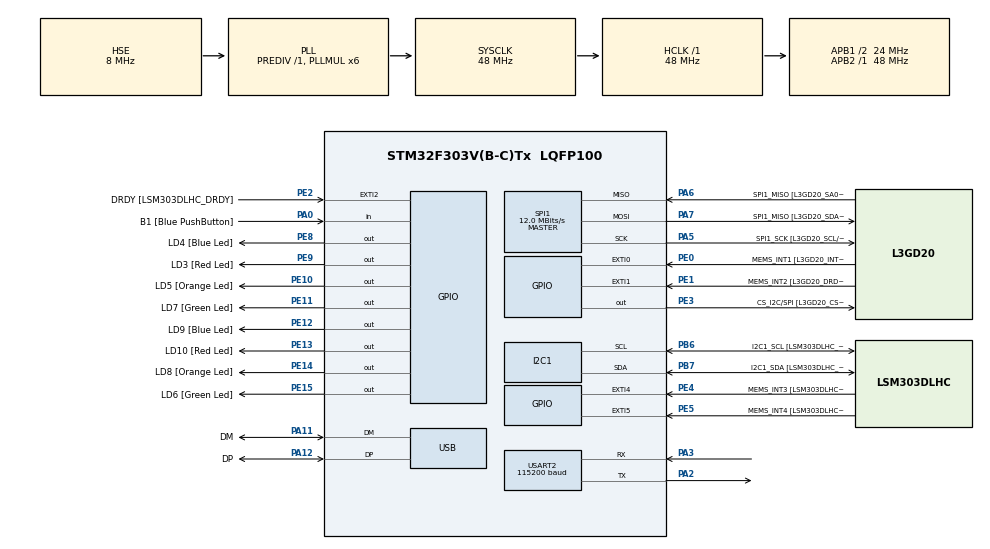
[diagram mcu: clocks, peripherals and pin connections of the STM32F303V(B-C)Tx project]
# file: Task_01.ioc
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I2C1.Timing=0x00201D2B
I2C1.Timing-I2C=0x2000090E
Mcu.Family=STM32F3
Mcu.Name=STM32F303V(B-C)Tx
Mcu.Package=LQFP100
NVIC.I2C1_EV_IRQn=true\:0\:0\:false\:false\:true\:true\:true\:true
NVIC.PriorityGroup=NVIC_PRIORITYGROUP_0
NVIC.TIM6_DAC_IRQn=true\:0\:0\:false\:false\:true\:true\:true\:true
PA0.GPIO_Label=B1 [Blue PushButton]
PA0.Signal=GPIO_Input
PA11.GPIO_Label=DM
PA11.Mode=Device
PA11.Signal=USB_DM
PA12.GPIO_Label=DP
PA12.Mode=Device
PA12.Signal=USB_DP
PA13.GPIO_Label=SWDIO
PA13.Mode=Serial_Wire
PA13.Signal=SYS_JTMS-SWDIO
PA14.GPIO_Label=SWCLK
PA14.Mode=Serial_Wire
PA14.Signal=SYS_JTCK-SWCLK
PA2.Mode=Asynchronous
PA2.Signal=USART2_TX
PA3.Mode=Asynchronous
PA3.Signal=USART2_RX
PA5.GPIO_Label=SPI1_SCK [L3GD20_SCL/SPC]
PA5.Mode=Full_Duplex_Master
PA5.Signal=SPI1_SCK
PA6.GPIO_Label=SPI1_MISO [L3GD20_SA0/SDO]
PA6.Mode=Full_Duplex_Master
PA6.Signal=SPI1_MISO
PA7.GPIO_Label=SPI1_MISO [L3GD20_SDA/SDI/SDO]
PA7.Mode=Full_Duplex_Master
PA7.Signal=SPI1_MOSI
PB3.GPIO_Label=SWO
PB3.Signal=SYS_JTDO-TRACESWO
PB6.GPIO_Label=I2C1_SCL [LSM303DLHC_SCL]
PB6.GPIO_Pu=GPIO_PULLUP
PB6.Mode=I2C
PB6.Signal=I2C1_SCL
PB7.GPIO_Label=I2C1_SDA [LSM303DLHC_SDA]
PB7.GPIO_Pu=GPIO_PULLUP
PB7.Mode=I2C
PB7.Signal=I2C1_SDA
PC14-OSC32_IN.GPIO_Label=OSC32_IN
PC14-OSC32_IN.Signal=RCC_OSC32_IN
PC15-OSC32_OUT.GPIO_Label=OSC32_OUT
PC15-OSC32_OUT.Signal=RCC_OSC32_OUT
PE0.GPIO_Label=MEMS_INT1 [L3GD20_INT1]
PE0.GPIO_ModeDefaultEXTI=GPIO_MODE_EVT_RISING
PE0.Signal=GPXTI0
PE1.GPIO_Label=MEMS_INT2 [L3GD20_DRDY/INT2]
PE1.GPIO_ModeDefaultEXTI=GPIO_MODE_EVT_RISING
PE1.Signal=GPXTI1
PE10.GPIO_Label=LD5 [Orange Led]
PE10.Signal=GPIO_Output
PE11.GPIO_Label=LD7 [Green Led]
PE11.Signal=GPIO_Output
PE12.GPIO_Label=LD9 [Blue Led]
PE12.Signal=GPIO_Output
PE13.GPIO_Label=LD10 [Red Led]
PE13.Signal=GPIO_Output
PE14.GPIO_Label=LD8 [Orange Led]
PE14.Signal=GPIO_Output
PE15.GPIO_Label=LD6 [Green Led]
PE15.Signal=GPIO_Output
PE2.GPIO_Label=DRDY [LSM303DLHC_DRDY]
PE2.GPIO_ModeDefaultEXTI=GPIO_MODE_EVT_RISING
PE2.Signal=GPXTI2
PE3.GPIO_Label=CS_I2C/SPI [L3GD20_CS_I2C/SPI]
PE3.Signal=GPIO_Output
PE4.GPIO_Label=MEMS_INT3 [LSM303DLHC_INT1]
PE4.GPIO_ModeDefaultEXTI=GPIO_MODE_EVT_RISING
PE4.Signal=GPXTI4
PE5.GPIO_Label=MEMS_INT4 [LSM303DLHC_INT2]
PE5.GPIO_ModeDefaultEXTI=GPIO_MODE_EVT_RISING
PE5.Signal=GPXTI5
PE8.GPIO_Label=LD4 [Blue Led]
PE8.Signal=GPIO_Output
PE9.GPIO_Label=LD3 [Red Led]
PE9.Signal=GPIO_Output
PF0-OSC_IN.GPIO_Label=OSC_IN
PF0-OSC_IN.Mode=HSE-External-Clock-Source
PF0-OSC_IN.Signal=RCC_OSC_IN
PF1-OSC_OUT.GPIO_Label=OSC_OUT
PF1-OSC_OUT.Signal=RCC_OSC_OUT
ProjectManager.HeapSize=0x200
ProjectManager.StackSize=0x400
ProjectManager.TargetToolchain=CMake
RCC.AHBFreq_Value=48000000
RCC.APB1CLKDivider=RCC_HCLK_DIV2
RCC.APB1Freq_Value=24000000
RCC.APB1TimFreq_Value=48000000
RCC.APB2Freq_Value=48000000
RCC.APB2TimFreq_Value=48000000
RCC.CortexFreq_Value=48000000
RCC.HCLKFreq_Value=48000000
RCC.HSE_VALUE=8000000
RCC.HSI_VALUE=8000000
RCC.LSE_VALUE=32768
RCC.PLLMUL=RCC_PLL_MUL6
RCC.SYSCLKFreq_VALUE=48000000
RCC.SYSCLKSourceVirtual=RCC_SYSCLKSOURCE_PLLCLK
RCC.USBFreq_Value=48000000
SPI1.BaudRatePrescaler=SPI_BAUDRATEPRESCALER_4
SPI1.BaudRatePrescaler-Full_Duplex_Master=SPI_BAUDRATEPRESCALER_2
SPI1.CalculateBaudRate=12.0 MBits/s
SPI1.CalculateBaudRate-Full_Duplex_Master=24.0 MBits/s
SPI1.DataSize=SPI_DATASIZE_8BIT
SPI1.Direction=SPI_DIRECTION_2LINES
SPI1.Mode=SPI_MODE_MASTER
SPI1.Mode-Full_Duplex_Master=SPI_MODE_MASTER
SPI1.VirtualType=VM_MASTER
TIM6.Period=9
TIM6.Prescaler=47999
USART2.BaudRate=115200
USART2.VirtualMode-Asynchronous=VM_ASYNC
VP_TIM6_VS_ClockSourceINT.Mode=Enable_Timer
board=STM32F3DISCOVERY

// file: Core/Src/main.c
/* USER CODE BEGIN Header */
/**
  ******************************************************************************
  * @file           : main.c
  * @brief          : Main program body
  ******************************************************************************
  * @attention
  *
  * Copyright (c) 2026 STMicroelectronics.
  * All rights reserved.
  *
  * This software is licensed under terms that can be found in the LICENSE file
  * in the root directory of this software component.
  * If no LICENSE file comes with this software, it is provided AS-IS.
  *
  ******************************************************************************
  */
/* USER CODE END Header */
#include "main.h"

/* USER CODE BEGIN Includes */

#include <stdio.h>
#include <string.h>
#include <stdarg.h>
#include <stdint.h>
#include <math.h>

/* USER CODE END Includes */

I2C_HandleTypeDef hi2c1;

SPI_HandleTypeDef hspi1;

TIM_HandleTypeDef htim6;

UART_HandleTypeDef huart2;

PCD_HandleTypeDef hpcd_USB_FS;

/* USER CODE BEGIN PV */
/* Accelerometer Defines */
#define ACC_ADDR            (0x19 << 1)
#define CTRL_REG1_A         0x20
#define CTRL_REG4_A         0x23
#define OUT_X_L_A           0x28

/* Gyroscope Defines */
#define GYRO_CS_PORT        GPIOE
#define GYRO_CS_PIN         GPIO_PIN_3
#define GYRO_WHO_AM_I_REG   0x0F
#define GYRO_READ_BIT       0x80
#define GYRO_MULTI_BIT      0x40
#define CTRL_REG1_G         0x20
#define CTRL_REG4_G         0x23
#define OUT_X_L_G           0x28

/* Sensor Sensitivity & Constants */
#define ACC_SENS            0.00098f
#define GYRO_SENS           0.00875f
#define RAD_TO_DEG          57.2957795f
#define DT                  0.005f      /* 200 Hz sampling: dt = 1/200 = 0.005s */

/* Data Structures */
typedef struct
{
    int16_t x_raw;
    int16_t y_raw;
    int16_t z_raw;
    float x_g;
    float y_g;
    float z_g;
} AccelData;

typedef struct
{
    int16_t x_raw;
    int16_t y_raw;
    int16_t z_raw;
    float x_dps;
    float y_dps;
    float z_dps;
} GyroData;

/* Global Variables */
AccelData acc;
GyroData gyro;
volatile uint8_t sample_ready = 0;

float acc_offset = 0.0f;
float acc_angle = 0.0f;
float gyro_rate = 0.0f;
float angle = 0.0f;

/* USER CODE END PV */

void SystemClock_Config(void);
static void MX_GPIO_Init(void);
static void MX_I2C1_Init(void);
static void MX_SPI1_Init(void);
static void MX_USART2_UART_Init(void);
static void MX_USB_PCD_Init(void);
static void MX_TIM6_Init(void);

/* USER CODE BEGIN 0 */
//ACCELEROMETER---------------------------------------------------------------
void myprintf(const char *fmt, ...)
{
    char buffer[128];
    va_list args;

    va_start(args, fmt);
    vsnprintf(buffer, sizeof(buffer), fmt, args);
    va_end(args);

    HAL_UART_Transmit(&huart2, (uint8_t*)buffer, strlen(buffer), HAL_MAX_DELAY);
}

/* Accelerometer Functions */
void accel_init(void)
{
    uint8_t data;

    data = 0x57;    /* ODR=100Hz, all axes enabled */
    HAL_I2C_Mem_Write(&hi2c1, ACC_ADDR, CTRL_REG1_A, I2C_MEMADD_SIZE_8BIT, &data, 1, HAL_MAX_DELAY);

    data = 0x88;    /* Full scale ±16g */
    HAL_I2C_Mem_Write(&hi2c1, ACC_ADDR, CTRL_REG4_A, I2C_MEMADD_SIZE_8BIT, &data, 1, HAL_MAX_DELAY);
}

void accel_read_raw(void)
{
    uint8_t buf[6];

    HAL_I2C_Mem_Read(&hi2c1, ACC_ADDR, OUT_X_L_A | 0x80, I2C_MEMADD_SIZE_8BIT, buf, 6, HAL_MAX_DELAY);

    acc.x_raw = (int16_t)((buf[1] << 8) | buf[0]);
    acc.y_raw = (int16_t)((buf[3] << 8) | buf[2]);
    acc.z_raw = (int16_t)((buf[5] << 8) | buf[4]);

    acc.x_raw >>= 4;
    acc.y_raw >>= 4;
    acc.z_raw >>= 4;
}

void accel_convert(void)
{
    acc.x_g = acc.x_raw * ACC_SENS;
    acc.y_g = acc.y_raw * ACC_SENS;
    acc.z_g = acc.z_raw * ACC_SENS;
}

/* Gyroscope Functions (SPI) */
uint8_t gyro_read_register(uint8_t reg_addr)
{
    uint8_t cmd = GYRO_READ_BIT | reg_addr;
    uint8_t response = 0;

    HAL_GPIO_WritePin(GYRO_CS_PORT, GYRO_CS_PIN, GPIO_PIN_RESET);
    HAL_SPI_Transmit(&hspi1, &cmd, 1, HAL_MAX_DELAY);
    HAL_SPI_Receive(&hspi1, &response, 1, HAL_MAX_DELAY);
    HAL_GPIO_WritePin(GYRO_CS_PORT, GYRO_CS_PIN, GPIO_PIN_SET);

    return response;
}

void gyro_write_register(uint8_t reg_addr, uint8_t value)
{
    uint8_t tx[2];

    tx[0] = reg_addr;
    tx[1] = value;

    HAL_GPIO_WritePin(GYRO_CS_PORT, GYRO_CS_PIN, GPIO_PIN_RESET);
    HAL_SPI_Transmit(&hspi1, tx, 2, HAL_MAX_DELAY);
    HAL_GPIO_WritePin(GYRO_CS_PORT, GYRO_CS_PIN, GPIO_PIN_SET);
}

void gyro_init(void)
{
    HAL_GPIO_WritePin(GYRO_CS_PORT, GYRO_CS_PIN, GPIO_PIN_SET);
    HAL_Delay(100);

    gyro_write_register(CTRL_REG1_G, 0x0F);   /* Power on, all axes enabled */
    gyro_write_register(CTRL_REG4_G, 0x80);   /* BDU=1, 245 dps full scale */
}

void gyro_read_raw(void)
{
    uint8_t tx[7];
    uint8_t rx[7];

    tx[0] = GYRO_READ_BIT | GYRO_MULTI_BIT | OUT_X_L_G;
    for (int i = 1; i < 7; i++)
        tx[i] = 0x00;

    HAL_GPIO_WritePin(GYRO_CS_PORT, GYRO_CS_PIN, GPIO_PIN_RESET);
    HAL_SPI_TransmitReceive(&hspi1, tx, rx, 7, HAL_MAX_DELAY);
    HAL_GPIO_WritePin(GYRO_CS_PORT, GYRO_CS_PIN, GPIO_PIN_SET);

    gyro.x_raw = (int16_t)((rx[2] << 8) | rx[1]);
    gyro.y_raw = (int16_t)((rx[4] << 8) | rx[3]);
    gyro.z_raw = (int16_t)((rx[6] << 8) | rx[5]);
}

void gyro_convert(void)
{
    gyro.x_dps = gyro.x_raw * GYRO_SENS;
    gyro.y_dps = gyro.y_raw * GYRO_SENS;
    gyro.z_dps = gyro.z_raw * GYRO_SENS;
}

/* Timer Interrupt Callback */
void HAL_TIM_PeriodElapsedCallback(TIM_HandleTypeDef *htim)
{
    if (htim->Instance == TIM6)
    {
        sample_ready = 1;
    }
}

/* IMU Processing with Complementary Filter (Y-axis) */
void imu_process(void)
{
    /* Read sensors */
    accel_read_raw();
    accel_convert();
    gyro_read_raw();
    gyro_convert();

    /* Y-axis angle from accelerometer: atan2(y_g, z_g) */
    acc_angle = atan2f(acc.y_g, acc.z_g) * RAD_TO_DEG - acc_offset;

    /* Y-axis angular velocity from gyroscope */
    gyro_rate = gyro.y_dps;

    /* Complementary Filter: 98% gyro integration + 2% accelerometer correction */
    angle = 0.98f * (angle + gyro_rate * DT) + 0.02f * acc_angle;
}

/* USER CODE END 0 */

int main(void)
{

  /* USER CODE BEGIN 1 */
  //ACCELEROMETER---------------------------------------------------------------
  int16_t x_raw, y_raw, z_raw;
  float x_g, y_g, z_g;

  /* USER CODE END 1 */

  /* MCU Configuration--------------------------------------------------------*/

  /* Reset of all peripherals, Initializes the Flash interface and the Systick. */

  HAL_Init();

  /* Configure the system clock */
  SystemClock_Config();

  /* Initialize all configured peripherals */
  MX_GPIO_Init();
  MX_I2C1_Init();
  MX_SPI1_Init();
  MX_USART2_UART_Init();
  MX_USB_PCD_Init();
  MX_TIM6_Init();
  /* USER CODE BEGIN 2 */
//ACCELEROMETER---------------------------------------------------------------
  // HAL_Delay(100);
  // accel_init();

  // HAL_TIM_Base_Start_IT(&htim6);

  // myprintf("Accelerometer start\r\n");
  //GYROSCOPE-----------------------------------------------------------------
  // HAL_Delay(100);
  //   HAL_GPIO_WritePin(GYRO_CS_PORT, GYRO_CS_PIN, GPIO_PIN_SET);
  //   gyro_check_id();     // expected 0xD3
  //   gyro_init();

  //   HAL_TIM_Base_Start_IT(&htim6);

  //   myprintf("Gyroscope start\r\n");

  //BOTH------------------------------------------------------------------------
  HAL_Delay(100);

  /* Initialize sensors */
  accel_init();
  gyro_init();

  /* Calibrate offset: read accelerometer once to get initial angle */
  accel_read_raw();
  accel_convert();
  acc_offset = atan2f(acc.y_g, acc.z_g) * RAD_TO_DEG;

  /* Reset filtered angle to zero */
  angle = 0.0f;
  acc_angle = 0.0f;
  gyro_rate = 0.0f;

  HAL_TIM_Base_Start_IT(&htim6);

  myprintf("\r\n=== Task 1: IMU Angle Estimation (Y-axis) ===\r\n");
  myprintf("Sampling at 200 Hz with Complementary Filter\r\n\r\n");

  /* USER CODE END 2 */

  /* Infinite loop */
  /* USER CODE BEGIN WHILE */
  while (1)
  {

    // if (accel_ready)
    //     {
    //         accel_ready = 0;

    //         accel_process();

    //         myprintf("X=%d Y=%d Z=%d | X=%.3fg Y=%.3fg Z=%.3fg\r\n",
    //                  acc.x_raw, acc.y_raw, acc.z_raw,
    //                  acc.x_g, acc.y_g, acc.z_g);
    //         HAL_Delay(1000);

    //     }
    //  if (gyro_ready)
    //     {
    //         gyro_ready = 0;

    //         gyro_process();

    //         myprintf("X=%d Y=%d Z=%d | X=%.3f dps Y=%.3f dps Z=%.3f dps\r\n",
    //                  gyro.x_raw, gyro.y_raw, gyro.z_raw,
    //                  gyro.x_dps, gyro.y_dps, gyro.z_dps);
    //
    //     }
         if (sample_ready)
        {
            sample_ready = 0;

            imu_process();

            /* Output 3 labeled values: Filtered Angle | Accel Angle | Gyro Rate */
            myprintf("Angle=%.2f | AccAngle=%.2f | GyroRate=%.2f\r\n",
                     angle, acc_angle, gyro_rate);
        }

    }

    /* USER CODE END WHILE */

}

void SystemClock_Config(void)
{
  RCC_OscInitTypeDef RCC_OscInitStruct = {0};
  RCC_ClkInitTypeDef RCC_ClkInitStruct = {0};
  RCC_PeriphCLKInitTypeDef PeriphClkInit = {0};

  /** Initializes the RCC Oscillators according to the specified parameters
  * in the RCC_OscInitTypeDef structure.
  */
  RCC_OscInitStruct.OscillatorType = RCC_OSCILLATORTYPE_HSI|RCC_OSCILLATORTYPE_HSE;
  RCC_OscInitStruct.HSEState = RCC_HSE_BYPASS;
  RCC_OscInitStruct.HSEPredivValue = RCC_HSE_PREDIV_DIV1;
  RCC_OscInitStruct.HSIState = RCC_HSI_ON;
  RCC_OscInitStruct.HSICalibrationValue = RCC_HSICALIBRATION_DEFAULT;
  RCC_OscInitStruct.PLL.PLLState = RCC_PLL_ON;
  RCC_OscInitStruct.PLL.PLLSource = RCC_PLLSOURCE_HSE;
  RCC_OscInitStruct.PLL.PLLMUL = RCC_PLL_MUL6;
  if (HAL_RCC_OscConfig(&RCC_OscInitStruct) != HAL_OK)
  {
    Error_Handler();
  }

  /** Initializes the CPU, AHB and APB buses clocks
  */
  RCC_ClkInitStruct.ClockType = RCC_CLOCKTYPE_HCLK|RCC_CLOCKTYPE_SYSCLK
                              |RCC_CLOCKTYPE_PCLK1|RCC_CLOCKTYPE_PCLK2;
  RCC_ClkInitStruct.SYSCLKSource = RCC_SYSCLKSOURCE_PLLCLK;
  RCC_ClkInitStruct.AHBCLKDivider = RCC_SYSCLK_DIV1;
  RCC_ClkInitStruct.APB1CLKDivider = RCC_HCLK_DIV2;
  RCC_ClkInitStruct.APB2CLKDivider = RCC_HCLK_DIV1;

  if (HAL_RCC_ClockConfig(&RCC_ClkInitStruct, FLASH_LATENCY_1) != HAL_OK)
  {
    Error_Handler();
  }
  PeriphClkInit.PeriphClockSelection = RCC_PERIPHCLK_USB|RCC_PERIPHCLK_USART2
                              |RCC_PERIPHCLK_I2C1;
  PeriphClkInit.Usart2ClockSelection = RCC_USART2CLKSOURCE_PCLK1;
  PeriphClkInit.I2c1ClockSelection = RCC_I2C1CLKSOURCE_HSI;
  PeriphClkInit.USBClockSelection = RCC_USBCLKSOURCE_PLL;
  if (HAL_RCCEx_PeriphCLKConfig(&PeriphClkInit) != HAL_OK)
  {
    Error_Handler();
  }
}

static void MX_I2C1_Init(void)
{

  hi2c1.Instance = I2C1;
  hi2c1.Init.Timing = 0x00201D2B;
  hi2c1.Init.OwnAddress1 = 0;
  hi2c1.Init.AddressingMode = I2C_ADDRESSINGMODE_7BIT;
  hi2c1.Init.DualAddressMode = I2C_DUALADDRESS_DISABLE;
  hi2c1.Init.OwnAddress2 = 0;
  hi2c1.Init.OwnAddress2Masks = I2C_OA2_NOMASK;
  hi2c1.Init.GeneralCallMode = I2C_GENERALCALL_DISABLE;
  hi2c1.Init.NoStretchMode = I2C_NOSTRETCH_DISABLE;
  if (HAL_I2C_Init(&hi2c1) != HAL_OK)
  {
    Error_Handler();
  }

  /** Configure Analogue filter
  */
  if (HAL_I2CEx_ConfigAnalogFilter(&hi2c1, I2C_ANALOGFILTER_ENABLE) != HAL_OK)
  {
    Error_Handler();
  }

  /** Configure Digital filter
  */
  if (HAL_I2CEx_ConfigDigitalFilter(&hi2c1, 0) != HAL_OK)
  {
    Error_Handler();
  }

}

static void MX_SPI1_Init(void)
{

  /* SPI1 parameter configuration*/
  hspi1.Instance = SPI1;
  hspi1.Init.Mode = SPI_MODE_MASTER;
  hspi1.Init.Direction = SPI_DIRECTION_2LINES;
  hspi1.Init.DataSize = SPI_DATASIZE_8BIT;
  hspi1.Init.CLKPolarity = SPI_POLARITY_LOW;
  hspi1.Init.CLKPhase = SPI_PHASE_1EDGE;
  hspi1.Init.NSS = SPI_NSS_SOFT;
  hspi1.Init.BaudRatePrescaler = SPI_BAUDRATEPRESCALER_4;
  hspi1.Init.FirstBit = SPI_FIRSTBIT_MSB;
  hspi1.Init.TIMode = SPI_TIMODE_DISABLE;
  hspi1.Init.CRCCalculation = SPI_CRCCALCULATION_DISABLE;
  hspi1.Init.CRCPolynomial = 7;
  hspi1.Init.CRCLength = SPI_CRC_LENGTH_DATASIZE;
  hspi1.Init.NSSPMode = SPI_NSS_PULSE_ENABLE;
  if (HAL_SPI_Init(&hspi1) != HAL_OK)
  {
    Error_Handler();
  }

}

static void MX_TIM6_Init(void)
{

  TIM_MasterConfigTypeDef sMasterConfig = {0};

  htim6.Instance = TIM6;
  htim6.Init.Prescaler = 47999;
  htim6.Init.CounterMode = TIM_COUNTERMODE_UP;
  htim6.Init.Period = 9;
  htim6.Init.AutoReloadPreload = TIM_AUTORELOAD_PRELOAD_DISABLE;
  if (HAL_TIM_Base_Init(&htim6) != HAL_OK)
  {
    Error_Handler();
  }
  sMasterConfig.MasterOutputTrigger = TIM_TRGO_RESET;
  sMasterConfig.MasterSlaveMode = TIM_MASTERSLAVEMODE_DISABLE;
  if (HAL_TIMEx_MasterConfigSynchronization(&htim6, &sMasterConfig) != HAL_OK)
  {
    Error_Handler();
  }

}

static void MX_USART2_UART_Init(void)
{

  huart2.Instance = USART2;
  huart2.Init.BaudRate = 115200;
  huart2.Init.WordLength = UART_WORDLENGTH_8B;
  huart2.Init.StopBits = UART_STOPBITS_1;
  huart2.Init.Parity = UART_PARITY_NONE;
  huart2.Init.Mode = UART_MODE_TX_RX;
  huart2.Init.HwFlowCtl = UART_HWCONTROL_NONE;
  huart2.Init.OverSampling = UART_OVERSAMPLING_16;
  huart2.Init.OneBitSampling = UART_ONE_BIT_SAMPLE_DISABLE;
  huart2.AdvancedInit.AdvFeatureInit = UART_ADVFEATURE_NO_INIT;
  if (HAL_UART_Init(&huart2) != HAL_OK)
  {
    Error_Handler();
  }

}

static void MX_USB_PCD_Init(void)
{

  hpcd_USB_FS.Instance = USB;
  hpcd_USB_FS.Init.dev_endpoints = 8;
  hpcd_USB_FS.Init.speed = PCD_SPEED_FULL;
  hpcd_USB_FS.Init.phy_itface = PCD_PHY_EMBEDDED;
  hpcd_USB_FS.Init.low_power_enable = DISABLE;
  hpcd_USB_FS.Init.battery_charging_enable = DISABLE;
  if (HAL_PCD_Init(&hpcd_USB_FS) != HAL_OK)
  {
    Error_Handler();
  }

}

static void MX_GPIO_Init(void)
{
  GPIO_InitTypeDef GPIO_InitStruct = {0};

  /* GPIO Ports Clock Enable */
  __HAL_RCC_GPIOE_CLK_ENABLE();
  __HAL_RCC_GPIOC_CLK_ENABLE();
  __HAL_RCC_GPIOF_CLK_ENABLE();
  __HAL_RCC_GPIOA_CLK_ENABLE();
  __HAL_RCC_GPIOB_CLK_ENABLE();

  /*Configure GPIO pin Output Level */
  HAL_GPIO_WritePin(GPIOE, CS_I2C_SPI_Pin|LD4_Pin|LD3_Pin|LD5_Pin
                          |LD7_Pin|LD9_Pin|LD10_Pin|LD8_Pin
                          |LD6_Pin, GPIO_PIN_RESET);

  /*Configure GPIO pins : DRDY_Pin MEMS_INT3_Pin MEMS_INT4_Pin MEMS_INT1_Pin
                           MEMS_INT2_Pin */
  GPIO_InitStruct.Pin = DRDY_Pin|MEMS_INT3_Pin|MEMS_INT4_Pin|MEMS_INT1_Pin
                          |MEMS_INT2_Pin;
  GPIO_InitStruct.Mode = GPIO_MODE_EVT_RISING;
  GPIO_InitStruct.Pull = GPIO_NOPULL;
  HAL_GPIO_Init(GPIOE, &GPIO_InitStruct);

  /*Configure GPIO pins : CS_I2C_SPI_Pin LD4_Pin LD3_Pin LD5_Pin
                           LD7_Pin LD9_Pin LD10_Pin LD8_Pin
                           LD6_Pin */
  GPIO_InitStruct.Pin = CS_I2C_SPI_Pin|LD4_Pin|LD3_Pin|LD5_Pin
                          |LD7_Pin|LD9_Pin|LD10_Pin|LD8_Pin
                          |LD6_Pin;
  GPIO_InitStruct.Mode = GPIO_MODE_OUTPUT_PP;
  GPIO_InitStruct.Pull = GPIO_NOPULL;
  GPIO_InitStruct.Speed = GPIO_SPEED_FREQ_LOW;
  HAL_GPIO_Init(GPIOE, &GPIO_InitStruct);

  /*Configure GPIO pin : B1_Pin */
  GPIO_InitStruct.Pin = B1_Pin;
  GPIO_InitStruct.Mode = GPIO_MODE_INPUT;
  GPIO_InitStruct.Pull = GPIO_NOPULL;
  HAL_GPIO_Init(B1_GPIO_Port, &GPIO_InitStruct);

}

void Error_Handler(void)
{
  __disable_irq();
  while (1)
  {
  }
}
